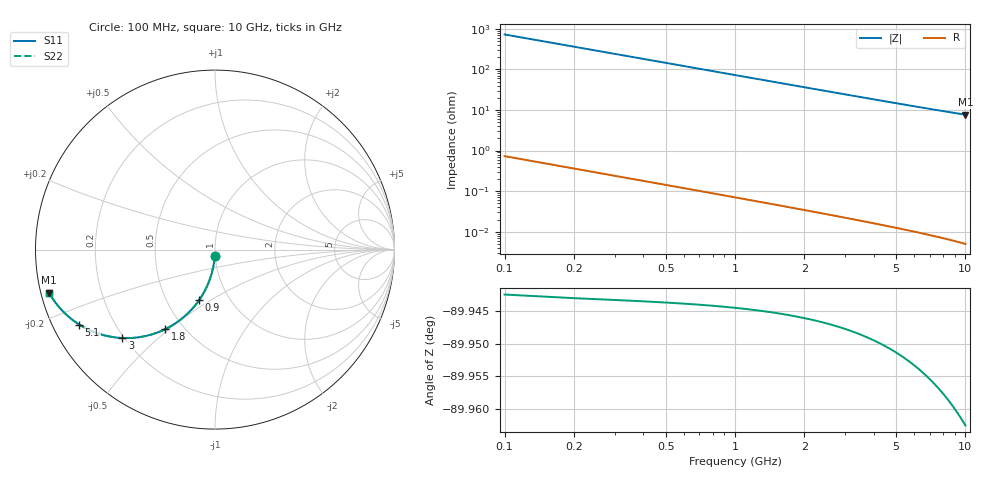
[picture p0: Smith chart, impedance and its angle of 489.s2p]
# Hz S RI R 50.00
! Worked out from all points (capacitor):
!   100 points, 100 MHz to 10 GHz, reference 50 ohm
!   read as one part in shunt: C = 2.19 pF near 100 MHz
!   lowest |Z| = 7.67 ohm at 10 GHz (marker M1)
!   S11 on the Smith chart (normalised r, x): 100 MHz: 1.00, -0.07; 900 MHz: 0.72, -0.44; 1.8 GHz: 0.40, -0.48; 3 GHz: 0.19, -0.39; 5.1 GHz: 0.08, -0.26; 10 GHz: 0.02, -0.13
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1e8  -0.00112 -0.0342  0.9987 -0.0346  0.9987 -0.0346  -0.00112 -0.0342
2e8  -0.00468 -0.0681  0.9951 -0.0689  0.9951 -0.0689  -0.00468 -0.0681
3e8  -0.0105 -0.1015  0.9892 -0.1028  0.9892 -0.1028  -0.0105 -0.1015
4e8  -0.0186 -0.1342  0.9812 -0.136  0.9812 -0.136  -0.0186 -0.1342
5e8  -0.0288 -0.166  0.971 -0.1682  0.971 -0.1682  -0.0288 -0.166
6e8  -0.041 -0.1967  0.9588 -0.1993  0.9588 -0.1993  -0.041 -0.1967
7e8  -0.055 -0.2261  0.9448 -0.2292  0.9448 -0.2292  -0.055 -0.2261
9e8  -0.0877 -0.2806  0.9121 -0.2845  0.9121 -0.2845  -0.0877 -0.2806
1.1e9  -0.1256 -0.3286  0.8742 -0.3334  0.8742 -0.3334  -0.1256 -0.3286
1.3e9  -0.1671 -0.3698  0.8327 -0.3755  0.8327 -0.3755  -0.1671 -0.3698
1.5e9  -0.2108 -0.4042  0.789 -0.4107  0.789 -0.4107  -0.2108 -0.4042
1.8e9  -0.2777 -0.4435  0.722 -0.4513  0.722 -0.4513  -0.2777 -0.4435
2.1e9  -0.3436 -0.4699  0.6561 -0.479  0.6561 -0.479  -0.3436 -0.4699
2.4e9  -0.4061 -0.4854  0.5936 -0.4958  0.5936 -0.4958  -0.4061 -0.4854
3e9  -0.5168 -0.4927  0.4829 -0.5057  0.4829 -0.5057  -0.5168 -0.4927
3.4e9  -0.5789 -0.4858  0.4208 -0.5006  0.4208 -0.5006  -0.5789 -0.4858
4.2e9  -0.6776 -0.4576  0.322 -0.476  0.322 -0.476  -0.6776 -0.4576
5.1e9  -0.7565 -0.4173  0.243 -0.4397  0.243 -0.4397  -0.7565 -0.4173
5.9e9  -0.8066 -0.3812  0.1928 -0.4072  0.1928 -0.4072  -0.8066 -0.3812
6.7e9  -0.8437 -0.3475  0.1557 -0.3771  0.1557 -0.3771  -0.8437 -0.3475
8.4e9  -0.8953 -0.2862  0.1037 -0.3237  0.1037 -0.3237  -0.8953 -0.2862
1e10  -0.9244 -0.2401  0.0743 -0.2853  0.0743 -0.2853  -0.9244 -0.2401
